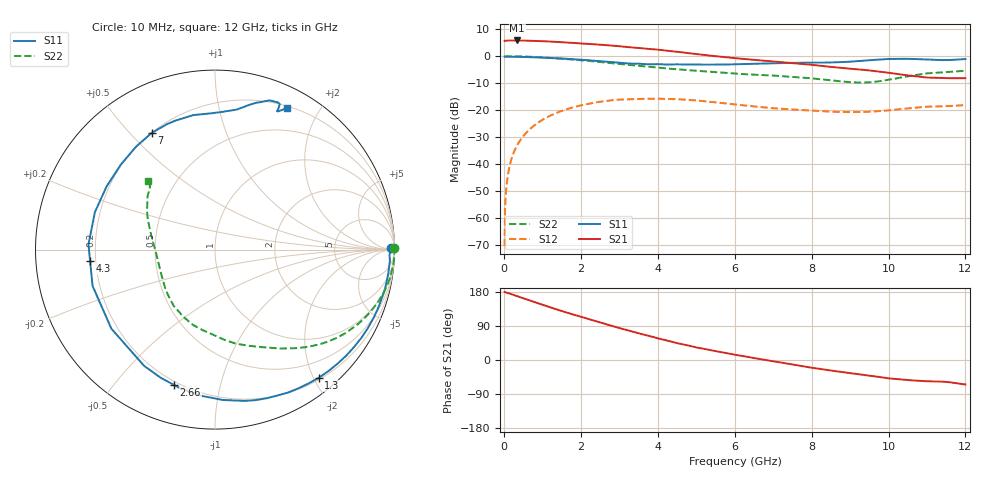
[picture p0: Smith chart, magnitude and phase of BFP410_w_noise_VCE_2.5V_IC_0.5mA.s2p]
! Infineon Technologies  Discrete & RF Semiconductors
! BFP410
! VCE =  2.5 V,  IC =  0.5 mA
! Common Emitter S-Parameters:  Nov 2015
# GHz  S  MA  R  50
!  f  S11  S21  S12  S22
! GHz  MAG  ANG  MAG  ANG  MAG  ANG  MAG  ANG
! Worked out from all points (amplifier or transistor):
!   243 points, 10 MHz to 12 GHz, reference 50 ohm
!   highest |S21| = 5.8 dB at 340 MHz (marker M1)
!   |S21| within 3 dB of that: start of sweep to 3.658 GHz
!   unconditionally stable (mu >= 1): 4.8 GHz to end of sweep
!   at 240 MHz: K = 0.01, MSG = 20.9 dB, |S12| = -36.0 dB
!   at 1.84 GHz: K = 0.26, MSG = 11.8 dB, |S12| = -18.8 dB
!   at 12 GHz: K = 1.50, MAG = 0.8 dB, |S12| = -18.2 dB
!   lowest NFmin = 0.85 dB at 900 MHz
!   S11 on the Smith chart (normalised r, x): 10 MHz: 76, +37; 1.3 GHz: 0.23, -2.08; 2.66 GHz: 0.18, -0.73; 4.3 GHz: 0.18, -0.04; 7 GHz: 0.20, +0.58; 12 GHz: 0.22, +1.61
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0.01  0.979 0.6  1.914 179.5  0.0003 131.4  1 0.6
0.015  0.9784 0.1  1.924 179.5  0.0008 99.8  0.9976 0.5
0.02  0.9779 -0.4  1.933 179.5  0.0014 93.4  0.9952 0.3
0.04  0.9743 -1.3  1.935 178.4  0.0027 88.6  0.9984 -0.3
0.07  0.9741 -2.6  1.94 177.4  0.0046 87.5  0.9999 -1.1
0.16  0.9744 -6.0  1.948 174.6  0.0106 86.2  0.9995 -3.1
0.34  0.972 -12.9  1.953 168.4  0.0225 82.7  0.9933 -6.7
0.7  0.9577 -27.0  1.933 155.9  0.0466 74.2  0.9721 -13.7
1.3  0.9189 -51.0  1.85 135.6  0.0852 59.2  0.9166 -24.5
2.02  0.856 -79.8  1.713 113.1  0.1234 41.3  0.8371 -36.0
2.66  0.7881 -106.8  1.595 93.9  0.148 25.6  0.7574 -45.3
3.5  0.7262 -142.7  1.422 70.3  0.1619 6.7  0.661 -56.5
4.1  0.7043 -167.2  1.293 54.8  0.1618 -4.5  0.6031 -64.3
4.3  0.6988 -174.8  1.246 49.8  0.1603 -8.1  0.5857 -67.2
5  0.701 162.7  1.095 33.2  0.151 -19.6  0.5364 -77.6
6.1  0.708 135.9  0.905 12.3  0.125 -30.5  0.4703 -92.4
7  0.7398 118.4  0.796 -3.5  0.1082 -33.1  0.4365 -106.6
8.2  0.7577 95.2  0.666 -23.2  0.0963 -31.7  0.3743 -131.3
9.4  0.8303 76.5  0.552 -39.9  0.0927 -24.4  0.3243 -170.5
10.2  0.8882 68.4  0.47 -50.2  0.1022 -20.6  0.3862 161.1
11  0.8643 65.8  0.401 -56.1  0.1156 -22.4  0.4794 141.6
12  0.8832 63.1  0.39 -64.7  0.1235 -26.2  0.536 134.4
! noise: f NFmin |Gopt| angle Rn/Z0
0.45  0.91  0.8  10  0.81
0.9  0.85  0.78  25  0.75
1.8  1.38  0.67  59  0.64
2.4  1.54  0.64  75  0.53
5.5  3.38  0.54  -159  0.23
